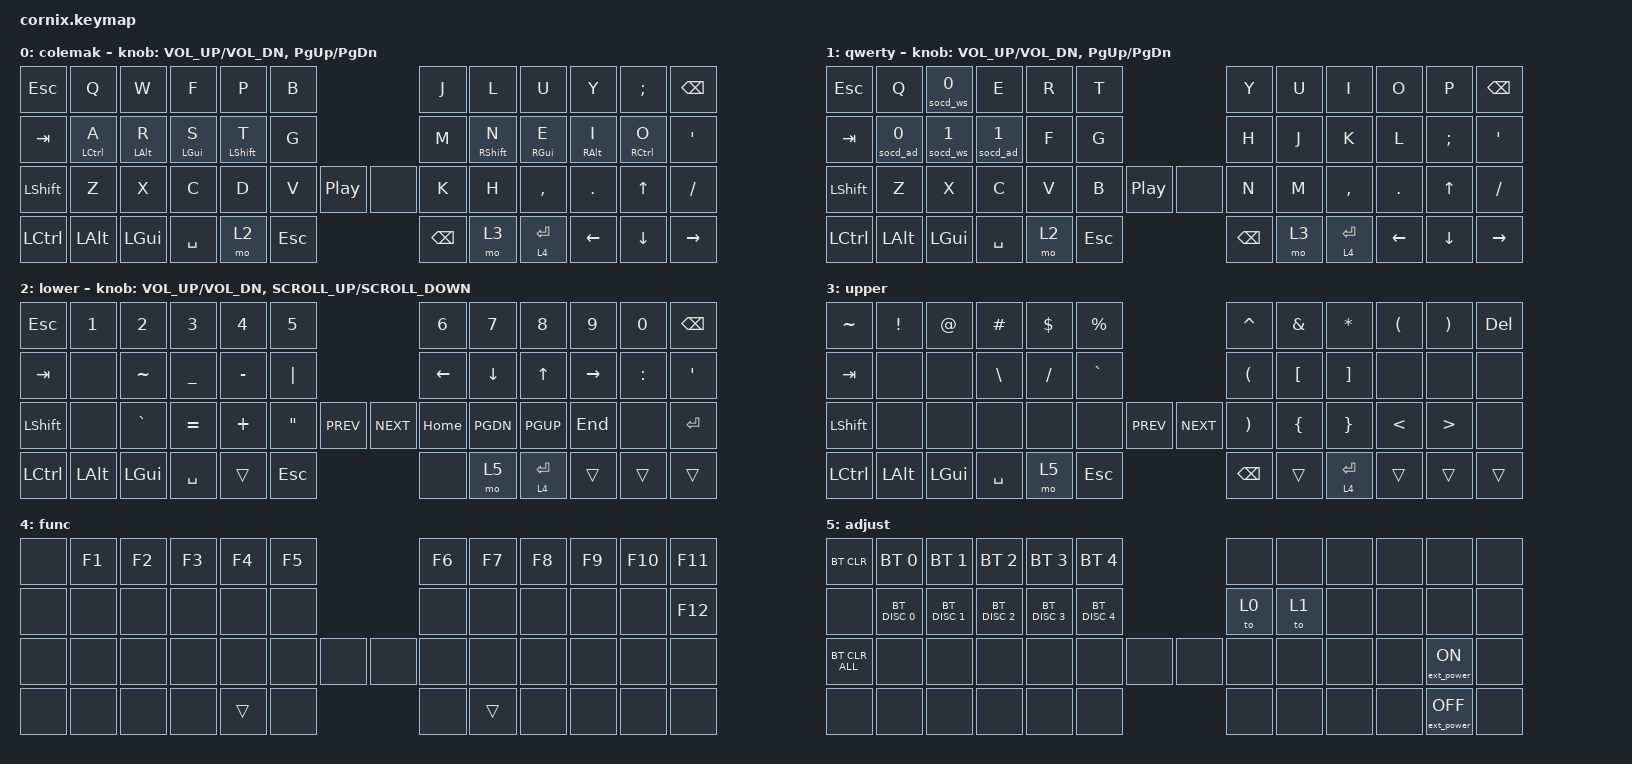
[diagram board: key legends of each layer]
/*
 * Copyright (c) 2020 The ZMK Contributors
 *
 * SPDX-License-Identifier: MIT
 */

#include "zmk-helpers/helper.h"
#include "includes/cornix54.h"
#include <behaviors.dtsi>
#include <dt-bindings/zmk/bt.h>
#include <dt-bindings/zmk/keys.h>
#include <behaviors/socd_wasd.dtsi>

// tap windows for ctl alt and gui
#define HM_TAPPING_TERM 300

// quick tapping for shift
#define HM_TAPPING_TERM_FAST 200
#define HM_PRIOR_IDLE 70

// https://github.com/urob/zmk-config/tree/main#timeless-homerow-mods
#define KEYS_L LT0 LT1 LT2 LT3 LT4 LT5 LM0 LM1 LM2 LM3 LM4 LM5 LB0 LB1 LB2 LB3 LB4 LB5  // left hand
#define KEYS_R RT0 RT1 RT2 RT3 RT4 RT5 RM0 RM1 RM2 RM3 RM4 RM5 RB0 RB1 RB2 RB3 RB4 RB5  // right hand
#define KEYS_T LH1 LH0 RH0 RH1
#define ZMK_POINTING_DEFAULT_SCRL_VAL 15

#include <behaviors.dtsi>
#include <dt-bindings/zmk/bt.h>
#include <dt-bindings/zmk/ext_power.h>
#include <dt-bindings/zmk/keys.h>
#include <dt-bindings/zmk/pointing.h>

/ {
    // Activate ADJUST layer by pressing raise and lower

    behaviors {
        hm_l: homerow_mods_left {
            compatible = "zmk,behavior-hold-tap";
            #binding-cells = <2>;
            bindings = <&kp>, <&kp>;

            flavor = "tap-preferred";
            tapping-term-ms = <HM_TAPPING_TERM>;
            quick-tap-ms = <200>;                // repeat on tap-into-hold
            require-prior-idle-ms = <HM_PRIOR_IDLE>;
            hold-trigger-key-positions = <KEYS_R KEYS_T>;
            hold-trigger-on-release;
        };

        hm_r: homerow_mods_right {
            compatible = "zmk,behavior-hold-tap";
            #binding-cells = <2>;
            bindings = <&kp>, <&kp>;

            flavor = "tap-preferred";
            tapping-term-ms = <HM_TAPPING_TERM>;
            quick-tap-ms = <200>;
            require-prior-idle-ms = <HM_PRIOR_IDLE>;
            hold-trigger-key-positions = <KEYS_L KEYS_T>;
            hold-trigger-on-release;
        };

        // Positional Homerow mods for shift
        // Use faster tapping term and disable some features that may
        // cause false negatives.

        hm_shift_l: hm_shift_l {
            compatible = "zmk,behavior-hold-tap";
            #binding-cells = <2>;
            bindings = <&kp>, <&kp>;

            flavor = "tap-preferred";
            tapping-term-ms = <HM_TAPPING_TERM_FAST>;
            quick-tap-ms = <200>;
            require-prior-idle-ms = <HM_PRIOR_IDLE>;
            hold-trigger-key-positions = <KEYS_R KEYS_T>;
            hold-trigger-on-release;
        };

        hm_shift_r: hm_shift_r {
            compatible = "zmk,behavior-hold-tap";
            #binding-cells = <2>;
            bindings = <&kp>, <&kp>;

            flavor = "tap-preferred";
            tapping-term-ms = <HM_TAPPING_TERM_FAST>;
            quick-tap-ms = <200>;
            require-prior-idle-ms = <HM_PRIOR_IDLE>;
            hold-trigger-key-positions = <KEYS_L KEYS_T>;

            // for quick tapping; shift+~

            hold-trigger-on-release;
        };
    };

    keymap {
        compatible = "zmk,keymap";

        colemak {
            bindings = <
&kp ESC   &kp Q          &kp W         &kp F         &kp P                &kp B                      &kp J      &kp L                &kp U            &kp Y         &kp SEMI         &kp BSPC
&kp TAB   &hm_l LCTRL A  &hm_l LALT R  &hm_l LGUI S  &hm_shift_l LSHFT T  &kp G                      &kp M      &hm_shift_r RSHFT N  &hm_r RGUI E     &hm_r RALT I  &hm_r RCTRL O     &kp SQT
&kp LSHFT &kp Z          &kp X         &kp C         &kp D                &kp V     &kp C_PP  &none  &kp K      &kp H                &kp COMMA        &kp DOT       &kp UP            &kp FSLH
&kp LCTRL &kp LALT       &kp LGUI      &kp SPACE     &mo 2                &kp ESC                    &kp BSPC   &mo 3                &lt 4 RET        &kp LEFT      &kp DOWN          &kp RIGHT
            >;
            sensor-bindings = <&inc_dec_kp C_VOL_UP C_VOL_DN &inc_dec_kp PG_UP PG_DN>;
        };

        qwerty {
            bindings = <
&kp ESC   &kp Q          &socd_ws 0    &kp E         &kp R                &kp T                      &kp Y      &kp U                &kp I            &kp O         &kp P             &kp BSPC
&kp TAB   &socd_ad 0     &socd_ws 1    &socd_ad 1    &kp F                &kp G                      &kp H      &kp J                &kp K            &kp L         &kp SEMI          &kp SQT
&kp LSHFT &kp Z          &kp X         &kp C         &kp V                &kp B     &kp C_PP  &none  &kp N      &kp M                &kp COMMA        &kp DOT       &kp UP            &kp FSLH
&kp LCTRL &kp LALT       &kp LGUI      &kp SPACE     &mo 2                &kp ESC                    &kp BSPC   &mo 3                &lt 4 RET        &kp LEFT      &kp DOWN          &kp RIGHT
            >;
            sensor-bindings = <&inc_dec_kp C_VOL_UP C_VOL_DN &inc_dec_kp PG_UP PG_DN>;
        };

        lower {
            bindings = <
&kp ESC   &kp N1    &kp N2    &kp N3    &kp N4        &kp N5                              &kp N6      &kp N7    &kp N8    &kp N9    &kp N0    &kp BSPC
&kp TAB   &none     &kp TILDE &kp UNDER &kp MINUS     &kp PIPE                            &kp LEFT    &kp DOWN  &kp UP    &kp RIGHT &kp COLON &kp SQT
&kp LSHFT &none     &kp GRAVE &kp EQUAL &kp PLUS      &kp DQT   &kp C_PREV  &kp C_NEXT    &kp HOME    &kp PGDN  &kp PGUP  &kp END   &none     &kp RET
&kp LCTRL &kp LALT  &kp LGUI  &kp SPACE &trans        &kp ESC                             &none       &mo 5     &lt 4 RET &trans    &trans    &trans
            >;
            sensor-bindings = <&inc_dec_kp C_VOL_UP C_VOL_DN &inc_dec_kp K_SCROLL_UP K_SCROLL_DOWN>;
        };

        upper {
            bindings = <
&kp TILDE &kp EXCL  &kp AT    &kp HASH  &kp DLLR      &kp PRCNT                           &kp CARET    &kp AMPS  &kp ASTRK &kp LPAR  &kp RPAR  &kp DEL
&kp TAB   &none     &none     &kp BSLH  &kp FSLH      &kp GRAVE                           &kp LPAR     &kp LBKT  &kp RBKT  &none     &none     &none
&kp LSHFT &none     &none     &none     &none         &none      &kp C_PREV  &kp C_NEXT   &kp RPAR     &kp LBRC  &kp RBRC  &kp LT    &kp GT    &none
&kp LCTRL &kp LALT  &kp LGUI  &kp SPACE &mo 5         &kp ESC                             &kp BSPC     &trans    &lt 4 RET &trans    &trans    &trans
            >;
        };

        func {
            bindings = <
&none     &kp F1    &kp F2    &kp F3    &kp F4        &kp F5                              &kp F6       &kp F7    &kp F8    &kp F9    &kp F10   &kp F11
&none     &none     &none     &none     &none         &none                               &none        &none     &none     &none     &none     &kp F12
&none     &none     &none     &none     &none         &none      &none      &none         &none        &none     &none     &none     &none     &none
&none     &none     &none     &none     &trans        &none                               &none        &trans    &none     &none     &none     &none
            >;
        };

        adjust {
            bindings = <
&bt BT_CLR      &bt BT_SEL 0   &bt BT_SEL 1   &bt BT_SEL 2   &bt BT_SEL 3   &bt BT_SEL 4                   &none   &none  &none   &none  &none             &none
&none           &bt BT_DISC 0  &bt BT_DISC 1  &bt BT_DISC 2  &bt BT_DISC 3  &bt BT_DISC 4                  &to 0   &to 1  &none   &none  &none             &none
&bt BT_CLR_ALL  &none          &none          &none          &none          &none          &none  &none    &none   &none  &none   &none  &ext_power EP_ON  &none
&none           &none          &none          &none          &none          &none                          &none   &none  &none   &none  &ext_power EP_OFF &none
            >;
        };
    };
};
